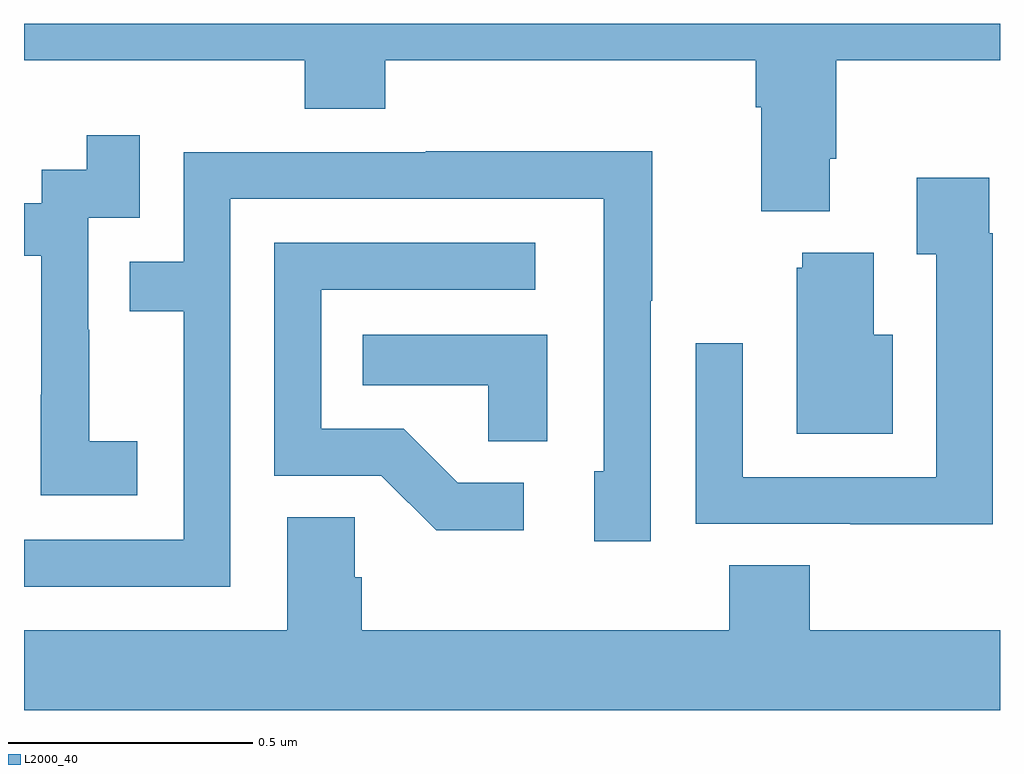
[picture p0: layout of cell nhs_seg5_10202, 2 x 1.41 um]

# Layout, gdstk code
import gdstk
lib = gdstk.Library(unit=1e-6, precision=1e-09)
def P(c, l, *ps):  # polygons
    for p in ps: c.add(gdstk.Polygon(p, *l))
L2000_40 = (2000, 40)

nhs_seg5_10202 = lib.new_cell('nhs_seg5_10202')
P(nhs_seg5_10202, L2000_40, [(244.651,892.522),(244.664,892.522),(244.664,892.724),(245,892.724),(245,892.799),(243,892.799),(243,892.724),(243.575,892.724),(243.575,892.625),(243.74,892.625),(243.74,892.724),(244.499,892.724),(244.499,892.628),(244.511,892.628),(244.511,892.415),(244.651,892.415)],
  [(243.232,891.943),(243.134,891.943),(243.134,892.172),(243.132,892.172),(243.132,892.401),(243.237,892.401),(243.237,892.57),(243.129,892.57),(243.129,892.5),(243.036,892.5),(243.036,892.431),(243,892.431),(243,892.323),(243.035,892.323),(243.035,892.039),(243.034,892.039),(243.034,891.833),(243.232,891.833)],
  [(243.423,892.44),(244.188,892.44),(244.188,891.882),(244.169,891.882),(244.169,891.738),(244.284,891.738),(244.284,892.231),(244.287,892.231),(244.287,892.538),(243.823,892.538),(243.823,892.536),(243.327,892.536),(243.327,892.311),(243.217,892.311),(243.217,892.21),(243.327,892.21),(243.327,891.741),(243,891.741),(243,891.645),(243.423,891.645)],
  [(244.985,892.37),(244.978,892.37),(244.978,892.483),(244.829,892.483),(244.829,892.327),(244.869,892.327),(244.869,891.87),(244.473,891.87),(244.473,892.144),(244.377,892.144),(244.377,891.774),(244.693,891.774),(244.693,891.773),(244.985,891.773)],
  [(244.024,891.858),(243.889,891.858),(243.778,891.969),(243.609,891.969),(243.609,892.254),(244.048,892.254),(244.048,892.35),(243.513,892.35),(243.513,891.873),(243.732,891.873),(243.845,891.761),(244.024,891.761)],
  [(244.78,892.162),(244.741,892.162),(244.741,892.33),(244.595,892.33),(244.595,892.299),(244.583,892.299),(244.583,891.959),(244.78,891.959)],
  [(244.072,892.162),(243.694,892.162),(243.694,892.058),(243.951,892.058),(243.951,891.943),(244.072,891.943)],
  [(245,891.556),(244.61,891.556),(244.61,891.689),(244.445,891.689),(244.445,891.556),(243.692,891.556),(243.692,891.665),(243.678,891.665),(243.678,891.788),(243.539,891.788),(243.539,891.556),(243,891.556),(243,891.392),(245,891.392)])

lib.write_gds('nhs_seg5_10202.gds')
